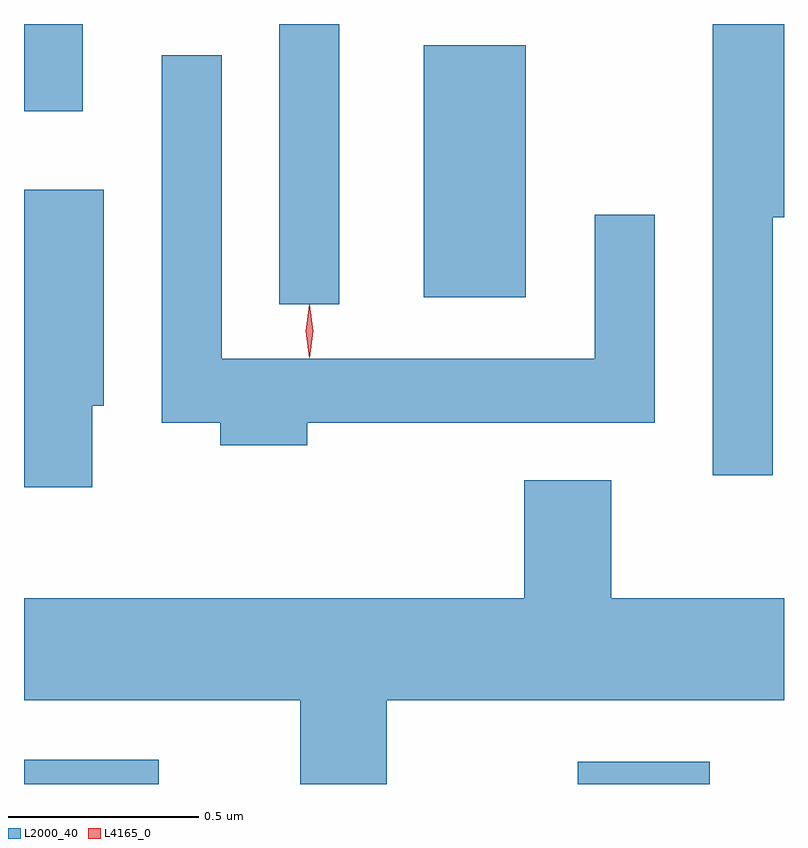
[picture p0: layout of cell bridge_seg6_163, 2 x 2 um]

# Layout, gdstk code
import gdstk
lib = gdstk.Library(unit=1e-6, precision=1e-09)
def R(c, l, rs):  # rectangles x0, y0, x1, y1
    for r in rs: c.add(gdstk.rectangle(r[:2], r[2:], *l))
def P(c, l, *ps):  # polygons
    for p in ps: c.add(gdstk.Polygon(p, *l))
L2000_40 = (2000, 40)
L4165_0 = (4165, 0)

bridge_seg6_163 = lib.new_cell('bridge_seg6_163')
R(bridge_seg6_163, L2000_40, [(1136.244,1565.355,1136.598,1565.419), (1137.701,1565.355,1138.048,1565.414), (1136.916,1566.618,1137.074,1567.355), (1137.296,1566.636,1137.564,1567.299), (1136.244,1567.126,1136.399,1567.355)])
P(bridge_seg6_163, L2000_40, [(1138.214,1566.846),(1138.244,1566.846),(1138.244,1567.355),(1138.056,1567.355),(1138.056,1566.168),(1138.214,1566.168)],
  [(1136.989,1566.306),(1137.904,1566.306),(1137.904,1566.853),(1137.746,1566.853),(1137.746,1566.474),(1136.764,1566.474),(1136.764,1567.273),(1136.606,1567.273),(1136.606,1566.306),(1136.761,1566.306),(1136.761,1566.246),(1136.989,1566.246)],
  [(1136.424,1566.351),(1136.454,1566.351),(1136.454,1566.919),(1136.244,1566.919),(1136.244,1566.136),(1136.424,1566.136)],
  [(1137.199,1565.576),(1138.244,1565.576),(1138.244,1565.844),(1137.789,1565.844),(1137.789,1566.154),(1137.561,1566.154),(1137.561,1565.844),(1136.244,1565.844),(1136.244,1565.576),(1136.971,1565.576),(1136.971,1565.355),(1137.199,1565.355)])
P(bridge_seg6_163, L4165_0, [(1136.995,1566.48),(1136.995,1566.48),(1136.985,1566.546),(1136.995,1566.612),(1136.995,1566.613),(1136.996,1566.612),(1137.005,1566.546),(1136.996,1566.48)],
  [(1136.995,1566.477),(1136.995,1566.477),(1136.985,1566.547),(1136.995,1566.616),(1136.995,1566.616),(1136.996,1566.616),(1137.005,1566.547),(1136.996,1566.477)])

lib.write_gds('bridge_seg6_163.gds')
